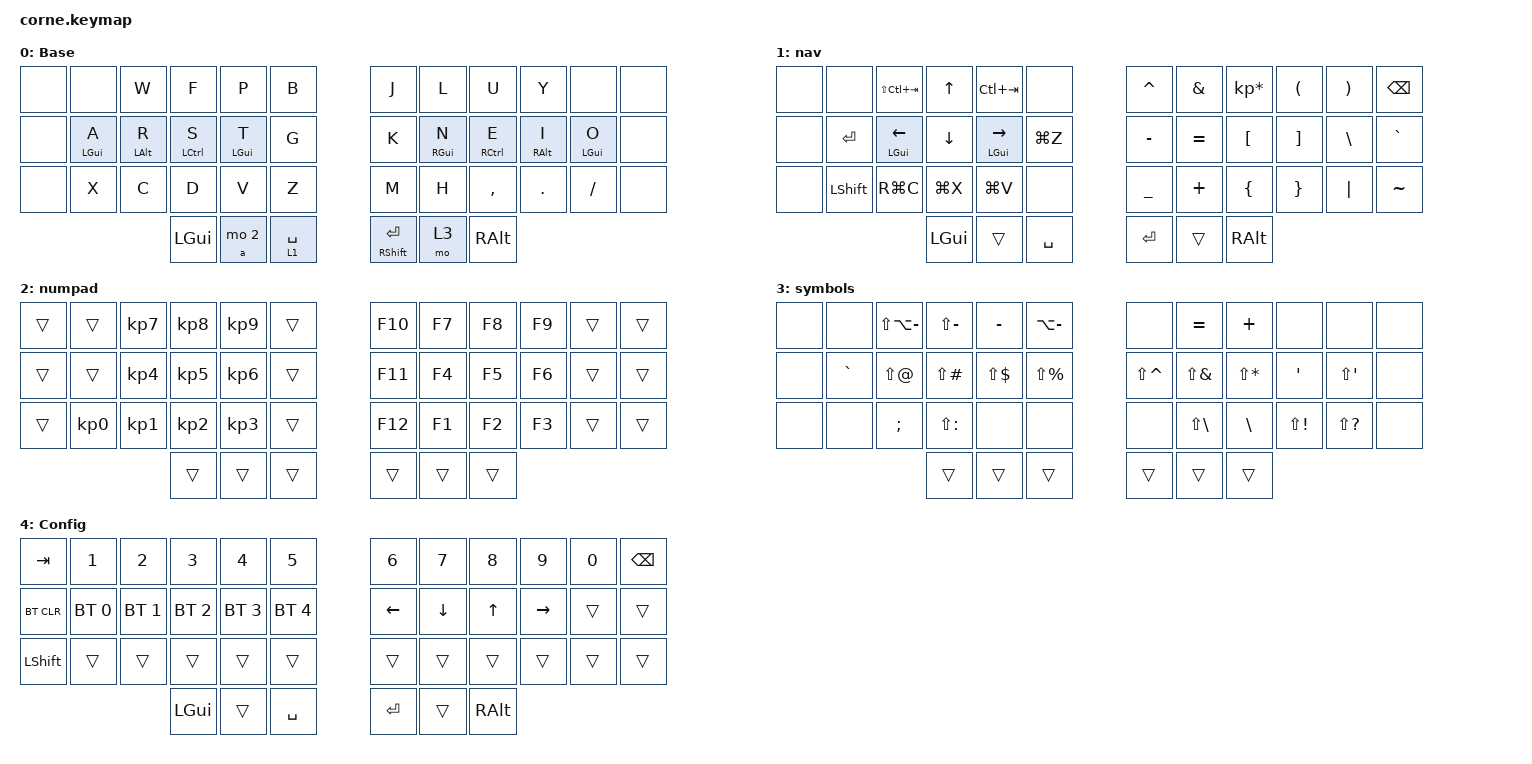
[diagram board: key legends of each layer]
/*
 * Copyright (c) 2020 The ZMK Contributors
 *
 * SPDX-License-Identifier: MIT
 */

#include <behaviors.dtsi>
#include <dt-bindings/zmk/bt.h>
#include <dt-bindings/zmk/keys.h>

/ {
    combos {
        compatible = "zmk,combos";

        hr_q {
            bindings = <&kp Q>;
            key-positions = <14 15>;
        };

        hr_tab {
            bindings = <&kp TAB>;
            key-positions = <15 16>;
        };

        punc_lbracket {
            bindings = <&kp LEFT_BRACKET>;
            key-positions = <2 14>;
        };

        punc_lparen {
            bindings = <&kp LEFT_PARENTHESIS>;
            key-positions = <15 3>;
        };

        punc_lbrace {
            bindings = <&kp LEFT_BRACE>;
            key-positions = <4 16>;
        };

        punc_langle {
            bindings = <&kp LESS_THAN>;
            key-positions = <17 5>;
        };

        punc_rangle {
            bindings = <&kp GREATER_THAN>;
            key-positions = <6 18>;
        };

        punc_rbrace {
            bindings = <&kp RIGHT_BRACE>;
            key-positions = <7 19>;
        };

        punc_rparen {
            bindings = <&kp RIGHT_PARENTHESIS>;
            key-positions = <20 8>;
        };

        punc_rbracket {
            bindings = <&kp RIGHT_BRACKET>;
            key-positions = <9 21>;
        };

        lbackspace {
            bindings = <&kp BACKSPACE>;
            key-positions = <2 3>;
        };

        lesc {
            bindings = <&kp ESCAPE>;
            key-positions = <3 4>;
        };

        btlayer {
            bindings = <&mo 4>;
            key-positions = <37 40>;
        };
    };

    behaviors {
        mt: mod_tap {
            compatible = "zmk,behavior-hold-tap";
            #binding-cells = <2>;
            flavor = "balanced";
            require-prior-idle-ms = <100>;
            tapping-term-ms = <250>;
            quick-tap-ms = <175>;
            bindings = <&kp>, <&kp>;
            hold-trigger-on-release;
        };
    };

    keymap {
        compatible = "zmk,keymap";

        default_layer {
            display-name = "Base";
            bindings = <
&none  &none           &kp W           &kp F               &kp P           &kp B          &kp J                  &kp L            &kp U                &kp Y            &none           &none
&none  &mt LEFT_GUI A  &mt LEFT_ALT R  &mt LEFT_CONTROL S  &mt LEFT_GUI T  &kp G          &kp K                  &mt RIGHT_GUI N  &mt RIGHT_CONTROL E  &mt RIGHT_ALT I  &mt LEFT_GUI O  &none
&none  &kp X           &kp C           &kp D               &kp V           &kp Z          &kp M                  &kp H            &kp COMMA            &kp DOT          &kp FSLH        &none
                                       &kp LGUI            &a mo 2           &lt 1 SPACE    &mt RIGHT_SHIFT ENTER  &mo 3            &kp RALT
            >;
        };

        nav_layer {
            display-name = "nav";
            bindings = <
&none  &none           &kp LS(LC(TAB))    &kp UP_ARROW  &kp LC(TAB)         &none        &kp CARET  &kp AMPS   &kp KP_MULTIPLY  &kp LPAR  &kp RPAR  &kp BSPC
&none  &kp ENTER       &mt LEFT_GUI LEFT  &kp DOWN      &mt LEFT_GUI RIGHT  &kp LG(Z)    &kp MINUS  &kp EQUAL  &kp LBKT         &kp RBKT  &kp BSLH  &kp GRAVE
&none  &kp LEFT_SHIFT  &kp RG(C)          &kp LG(X)     &kp LG(V)           &none        &kp UNDER  &kp PLUS   &kp LBRC         &kp RBRC  &kp PIPE  &kp TILDE
                                          &kp LGUI      &trans              &kp SPACE    &kp RET    &trans     &kp RALT
            >;
        };

        numpad {
            bindings = <
&trans  &trans           &kp KP_NUMBER_7  &kp KP_NUMBER_8  &kp KP_NUMBER_9  &trans    &kp F10  &kp F7  &kp F8  &kp F9  &trans  &trans
&trans  &trans           &kp KP_NUMBER_4  &kp KP_NUMBER_5  &kp KP_NUMBER_6  &trans    &kp F11  &kp F4  &kp F5  &kp F6  &trans  &trans
&trans  &kp KP_NUMBER_0  &kp KP_NUMBER_1  &kp KP_NUMBER_2  &kp KP_NUMBER_3  &trans    &kp F12  &kp F1  &kp F2  &kp F3  &trans  &trans
                                          &trans           &trans           &trans    &trans   &trans  &trans
            >;
        };

        symbols {
            bindings = <
&none  &none      &kp LS(LA(MINUS))  &kp LS(MINUS)  &kp MINUS     &kp LA(MINUS)    &none          &kp EQUAL          &kp PLUS       &none             &none          &none
&none  &kp GRAVE  &kp LS(AT)         &kp LS(POUND)  &kp LS(DLLR)  &kp LS(PRCNT)    &kp LS(CARET)  &kp LS(AMPS)       &kp LS(STAR)   &kp SINGLE_QUOTE  &kp LS(SQT)    &none
&none  &none      &kp SEMI           &kp LS(COLON)  &none         &none            &none          &kp LS(BACKSLASH)  &kp BACKSLASH  &kp LS(EXCL)      &kp LS(QMARK)  &none
                                     &trans         &trans        &trans           &trans         &trans             &trans
            >;
        };

        config_layer {
            // -----------------------------------------------------------------------------------------
            // |  TAB |  1  |  2  |  3  |  4  |  5  |   |  6  |  7  |  8  |  9  |  0  | BKSP |
            // | BTCLR| BT1 | BT2 | BT3 | BT4 | BT5 |   | LFT | DWN |  UP | RGT |     |      |
            // | SHFT |     |     |     |     |     |   |     |     |     |     |     |      |
            //                    | GUI |     | SPC |   | ENT |     | ALT |

            display-name = "Config";
            bindings = <
&kp TAB     &kp N1        &kp N2        &kp N3        &kp N4        &kp N5          &kp N6    &kp N7    &kp N8    &kp N9     &kp N0  &kp BSPC
&bt BT_CLR  &bt BT_SEL 0  &bt BT_SEL 1  &bt BT_SEL 2  &bt BT_SEL 3  &bt BT_SEL 4    &kp LEFT  &kp DOWN  &kp UP    &kp RIGHT  &trans  &trans
&kp LSHFT   &trans        &trans        &trans        &trans        &trans          &trans    &trans    &trans    &trans     &trans  &trans
                                        &kp LGUI      &trans        &kp SPACE       &kp RET   &trans    &kp RALT
            >;
        };
    };
};
